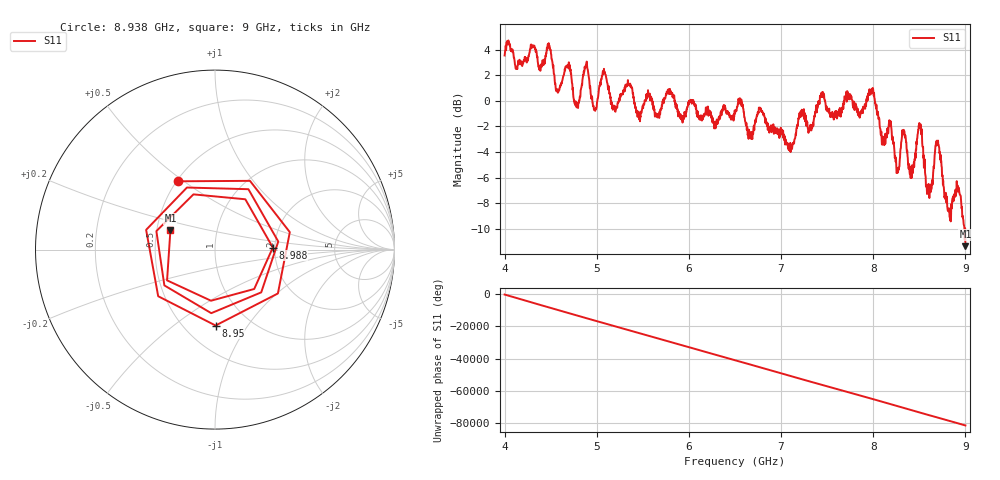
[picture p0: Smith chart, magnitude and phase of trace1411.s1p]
! Created with skrf 1.8.0 (http://scikit-rf.org).
# Hz S RI R 50.0
!freq ReS11 ImS11
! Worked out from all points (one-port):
!   1601 points, 4 GHz to 9 GHz, reference 50 ohm
!   lowest |S11| = -11.4 dB at 9 GHz (marker M1), VSWR 1.74, Z = 29.5 + j6.83 ohm
!   |S11| at or under -10 dB: 8.989436 GHz to 8.996898 GHz (7.462 MHz wide, 0.083 % of centre); 8.997067 GHz to end of sweep
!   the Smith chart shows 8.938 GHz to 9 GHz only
!   S11 on the Smith chart (normalised r, x): 8.938 GHz: 0.51, +0.48; 8.95 GHz: 0.70, -0.72; 8.988 GHz: 1.95, +0.05; 9 GHz: 0.59, +0.14
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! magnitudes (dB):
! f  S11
! 4 GHz  3.5
! 4.481 GHz  4.2
! 4.569 GHz  0.9
! 4.625 GHz  1.5
! 4.691 GHz  2.6
! 4.788 GHz  -0.4
! 4.884 GHz  2.8
! 4.978 GHz  -0.7
! 5.075 GHz  2.2
! 5.25 GHz  0.3
! 5.875 GHz  -0.6
! 6.5 GHz  -1.0
! 7.125 GHz  -3.4
! 7.444 GHz  0.5
! 7.75 GHz  0.5
! 7.984 GHz  0.8
! 8.259 GHz  -5.5
! 8.328 GHz  -2.6
! 8.375 GHz  -4.5
! 8.419 GHz  -6.0
! 8.503 GHz  -2.0
! 8.597 GHz  -6.7
! 8.697 GHz  -3.3
! 8.819 GHz  -8.6
! 8.938 GHz  -7.3
! 8.95 GHz  -7.5
! 8.988 GHz  -9.8
! 9 GHz  -11.4
